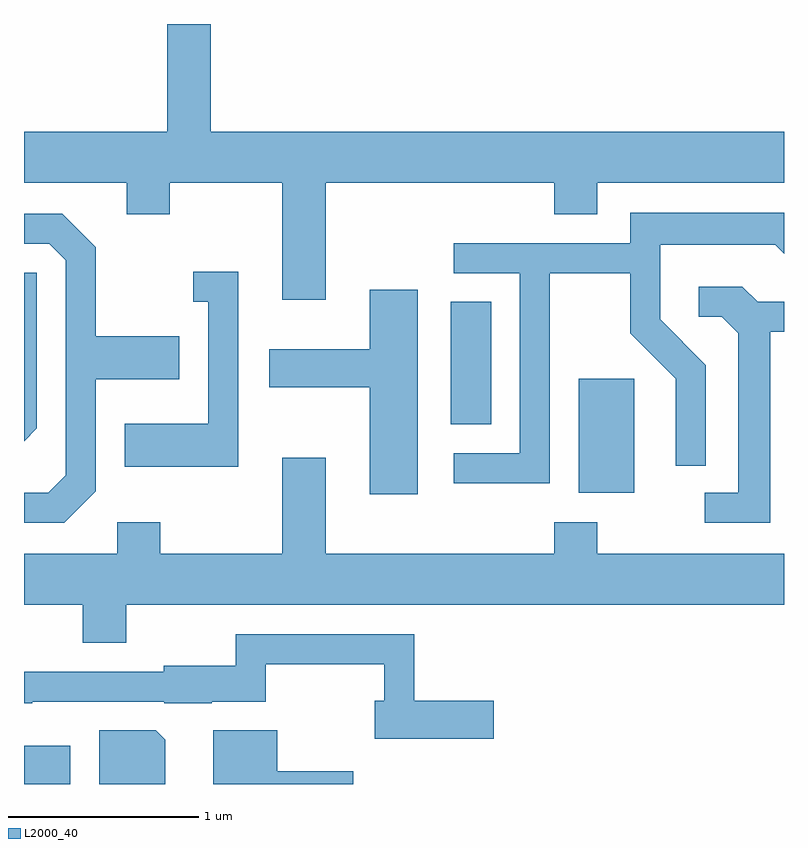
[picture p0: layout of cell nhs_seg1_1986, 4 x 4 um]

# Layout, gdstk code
import gdstk
lib = gdstk.Library(unit=1e-6, precision=1e-09)
def R(c, l, rs):  # rectangles x0, y0, x1, y1
    for r in rs: c.add(gdstk.rectangle(r[:2], r[2:], *l))
def P(c, l, *ps):  # polygons
    for p in ps: c.add(gdstk.Polygon(p, *l))
L2000_40 = (2000, 40)

nhs_seg1_1986 = lib.new_cell('nhs_seg1_1986')
R(nhs_seg1_1986, L2000_40, [(245.611,929.712,245.854,929.914), (248.531,931.246,248.824,931.844), (247.856,931.606,248.069,932.249)])
P(nhs_seg1_1986, L2000_40, [(247.199,932.876),(248.401,932.876),(248.401,932.711),(248.629,932.711),(248.629,932.876),(249.611,932.876),(249.611,933.144),(246.594,933.144),(246.594,933.712),(246.366,933.712),(246.366,933.144),(245.611,933.144),(245.611,932.876),(246.151,932.876),(246.151,932.711),(246.379,932.711),(246.379,932.876),(246.971,932.876),(246.971,932.261),(247.199,932.261)],
  [(248.379,932.401),(248.801,932.401),(248.801,932.084),(249.041,931.844),(249.041,931.388),(249.199,931.388),(249.199,931.917),(248.959,932.157),(248.959,932.551),(249.564,932.551),(249.611,932.504),(249.611,932.719),(248.801,932.719),(248.801,932.559),(247.873,932.559),(247.873,932.401),(248.221,932.401),(248.221,931.454),(247.873,931.454),(247.873,931.296),(248.379,931.296)],
  [(245.989,931.254),(245.989,931.841),(246.429,931.841),(246.429,932.069),(245.989,932.069),(245.989,932.537),(245.812,932.714),(245.611,932.714),(245.611,932.556),(245.744,932.556),(245.831,932.469),(245.831,931.337),(245.739,931.244),(245.611,931.244),(245.611,931.086),(245.822,931.086)],
  [(246.739,932.409),(246.503,932.409),(246.503,932.251),(246.581,932.251),(246.581,931.609),(246.141,931.609),(246.141,931.381),(246.739,931.381)],
  [(245.679,931.584),(245.679,932.404),(245.611,932.404),(245.611,931.516)],
  [(249.539,932.091),(249.611,932.091),(249.611,932.249),(249.472,932.249),(249.392,932.329),(249.163,932.329),(249.163,932.171),(249.284,932.171),(249.371,932.084),(249.371,931.244),(249.193,931.244),(249.193,931.086),(249.539,931.086)],
  [(247.684,932.314),(247.431,932.314),(247.431,931.999),(246.901,931.999),(246.901,931.801),(247.431,931.801),(247.431,931.236),(247.684,931.236)],
  [(249.611,930.924),(248.629,930.924),(248.629,931.089),(248.401,931.089),(248.401,930.924),(247.199,930.924),(247.199,931.429),(246.971,931.429),(246.971,930.924),(246.329,930.924),(246.329,931.089),(246.101,931.089),(246.101,930.924),(245.611,930.924),(245.611,930.656),(245.921,930.656),(245.921,930.456),(246.149,930.456),(246.149,930.656),(249.611,930.656)],
  [(248.084,930.149),(247.664,930.149),(247.664,930.499),(246.726,930.499),(246.726,930.334),(246.346,930.334),(246.346,930.304),(245.611,930.304),(245.611,930.136),(245.655,930.136),(245.655,930.146),(246.35,930.146),(246.35,930.136),(246.6,930.136),(246.6,930.146),(246.884,930.146),(246.884,930.341),(247.506,930.341),(247.506,930.149),(247.456,930.149),(247.456,929.951),(248.084,929.951)],
  [(246.354,929.944),(246.304,929.994),(246.006,929.994),(246.006,929.712),(246.354,929.712)],
  [(247.344,929.779),(246.944,929.779),(246.944,929.994),(246.606,929.994),(246.606,929.712),(247.344,929.712)])

lib.write_gds('nhs_seg1_1986.gds')
